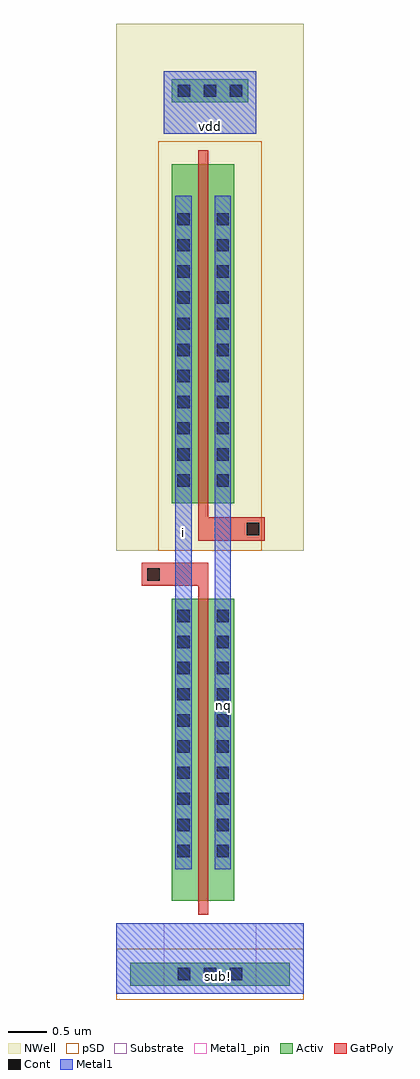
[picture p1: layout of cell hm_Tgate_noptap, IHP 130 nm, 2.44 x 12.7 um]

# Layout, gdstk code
import gdstk
lib = gdstk.Library(unit=1e-6, precision=1e-09)
def R(c, l, rs):  # rectangles x0, y0, x1, y1
    for r in rs: c.add(gdstk.rectangle(r[:2], r[2:], *l))
def A(c, l, x, y, w, h, nx, ny, dx, dy):  # array of equal rectangles
    R(c, l, [(x+i*dx, y+j*dy, x+i*dx+w, y+j*dy+h) for i in range(nx) for j in range(ny)])
Activ = (1, 0)
GatPoly = (5, 0)
Cont = (6, 0)
Metal1 = (8, 0)
Metal1_pin = (8, 2)
pSD = (14, 0)
NWell = (31, 0)
Substrate = (40, 0)

hm_tgate_noptap = lib.new_cell('hm_Tgate_noptap')
R(hm_tgate_noptap, Activ, [(2,0.105,4.08,0.405), (2.545,1.21,3.355,5.14), (2.545,6.38,3.355,10.79), (2.545,11.595,3.535,11.895)])
R(hm_tgate_noptap, GatPoly, [(2.885,1.03,3.015,5.605), (2.15,5.305,2.885,5.605), (2.885,5.895,3.015,10.97), (3.015,5.895,3.75,6.195)])
A(hm_tgate_noptap, Cont, 2.62, 0.175, 0.16, 0.16, 3, 2, 0.34, 11.49)
A(hm_tgate_noptap, Cont, 2.615, 1.775, 0.16, 0.16, 1, 10, 0, 0.34)
A(hm_tgate_noptap, Cont, 3.125, 1.775, 0.16, 0.16, 1, 10, 0, 0.34)
A(hm_tgate_noptap, Cont, 2.615, 6.595, 0.16, 0.16, 1, 11, 0, 0.34)
A(hm_tgate_noptap, Cont, 3.125, 6.595, 0.16, 0.16, 1, 11, 0, 0.34)
R(hm_tgate_noptap, Cont, [(2.225,5.375,2.385,5.535), (3.52,5.965,3.68,6.125)])
R(hm_tgate_noptap, Metal1, [(1.82,0,4.26,0.915), (2.59,1.62,2.8,10.38), (3.1,1.62,3.31,10.38), (2.44,11.185,3.64,12)])
R(hm_tgate_noptap, Metal1_pin, [(2.44,0,3.64,0.915), (2.59,1.62,2.8,10.38), (3.1,1.62,3.31,10.38), (2.44,11.185,3.64,12)])
R(hm_tgate_noptap, pSD, [(1.82,-0.075,4.26,0.585), (2.365,5.76,3.715,11.09)])
R(hm_tgate_noptap, NWell, [(1.82,5.76,4.26,12.62)])
R(hm_tgate_noptap, Substrate, [(2,0.105,4.08,0.405)])
hm_tgate_noptap.add(gdstk.Label('sub!', (3.15,0.22), layer=63, texttype=0))
hm_tgate_noptap.add(gdstk.Label('nq', (3.22,3.755), layer=8, texttype=25))
hm_tgate_noptap.add(gdstk.Label('i', (2.695,6), layer=8, texttype=25))
hm_tgate_noptap.add(gdstk.Label('vdd', (3.04,11.28), layer=8, texttype=25))

lib.write_gds('hm_Tgate_noptap.gds')
